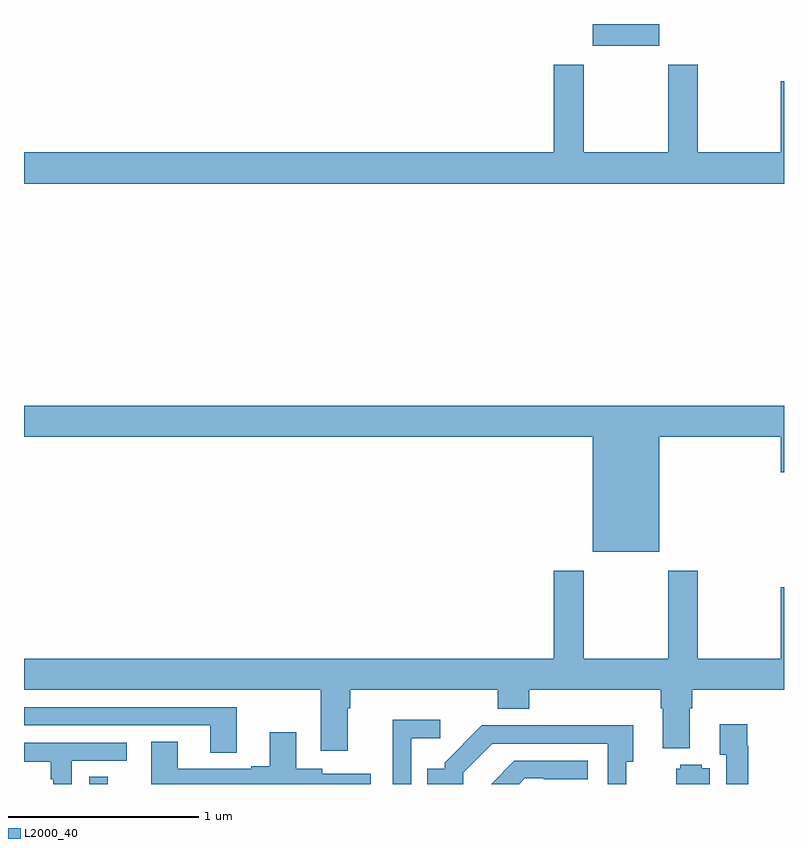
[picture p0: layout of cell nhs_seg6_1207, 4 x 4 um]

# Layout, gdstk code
import gdstk
lib = gdstk.Library(unit=1e-6, precision=1e-09)
def R(c, l, rs):  # rectangles x0, y0, x1, y1
    for r in rs: c.add(gdstk.rectangle(r[:2], r[2:], *l))
def P(c, l, *ps):  # polygons
    for p in ps: c.add(gdstk.Polygon(p, *l))
L2000_40 = (2000, 40)

nhs_seg6_1207 = lib.new_cell('nhs_seg6_1207')
R(nhs_seg6_1207, L2000_40, [(185.343,953.5,185.442,953.537), (187.994,957.386,188.344,957.5)])
P(nhs_seg6_1207, L2000_40, [(189,957.199),(188.984,957.199),(188.984,956.824),(188.547,956.824),(188.547,957.286),(188.392,957.286),(188.392,956.824),(187.947,956.824),(187.947,957.286),(187.787,957.286),(187.787,956.824),(185,956.824),(185,956.66),(189,956.66)],
  [(188.344,955.328),(188.984,955.328),(188.984,955.14),(189,955.14),(189,955.492),(185,955.492),(185,955.328),(187.994,955.328),(187.994,954.722),(188.344,954.722)],
  [(186.703,953.9),(186.716,953.9),(186.716,953.996),(187.493,953.996),(187.493,953.897),(187.658,953.897),(187.658,953.996),(188.351,953.996),(188.351,953.9),(188.363,953.9),(188.363,953.687),(188.503,953.687),(188.503,953.9),(188.516,953.9),(188.516,953.996),(189,953.996),(189,954.535),(188.984,954.535),(188.984,954.16),(188.547,954.16),(188.547,954.622),(188.392,954.622),(188.392,954.16),(187.947,954.16),(187.947,954.622),(187.787,954.622),(187.787,954.16),(185,954.16),(185,953.996),(186.563,953.996),(186.563,953.676),(186.703,953.676)],
  [(186.121,953.904),(185,953.904),(185,953.808),(185.981,953.808),(185.981,953.665),(186.121,953.665)],
  [(187.038,953.741),(187.192,953.741),(187.192,953.839),(186.94,953.839),(186.94,953.6),(186.942,953.6),(186.942,953.5),(187.038,953.5)],
  [(188.813,953.702),(188.806,953.702),(188.806,953.815),(188.663,953.815),(188.663,953.654),(188.697,953.654),(188.697,953.5),(188.813,953.5)],
  [(187.311,953.559),(187.464,953.712),(188.073,953.712),(188.073,953.5),(188.169,953.5),(188.169,953.618),(188.206,953.618),(188.206,953.81),(187.741,953.81),(187.741,953.808),(187.41,953.808),(187.215,953.613),(187.215,953.581),(187.123,953.581),(187.123,953.5),(187.311,953.5)],
  [(186.826,953.553),(186.57,953.553),(186.57,953.58),(186.433,953.58),(186.433,953.773),(186.293,953.773),(186.293,953.593),(186.197,953.593),(186.197,953.58),(185.809,953.58),(185.809,953.723),(185.669,953.723),(185.669,953.5),(186.826,953.5)],
  [(185.25,953.622),(185.542,953.622),(185.542,953.718),(185,953.718),(185,953.618),(185.142,953.618),(185.142,953.525),(185.154,953.525),(185.154,953.5),(185.25,953.5)],
  [(187.635,953.529),(187.735,953.529),(187.735,953.526),(187.966,953.526),(187.966,953.622),(187.58,953.622),(187.458,953.5),(187.606,953.5)],
  [(188.608,953.584),(188.568,953.584),(188.568,953.602),(188.454,953.602),(188.454,953.58),(188.432,953.58),(188.432,953.5),(188.608,953.5)])

lib.write_gds('nhs_seg6_1207.gds')
